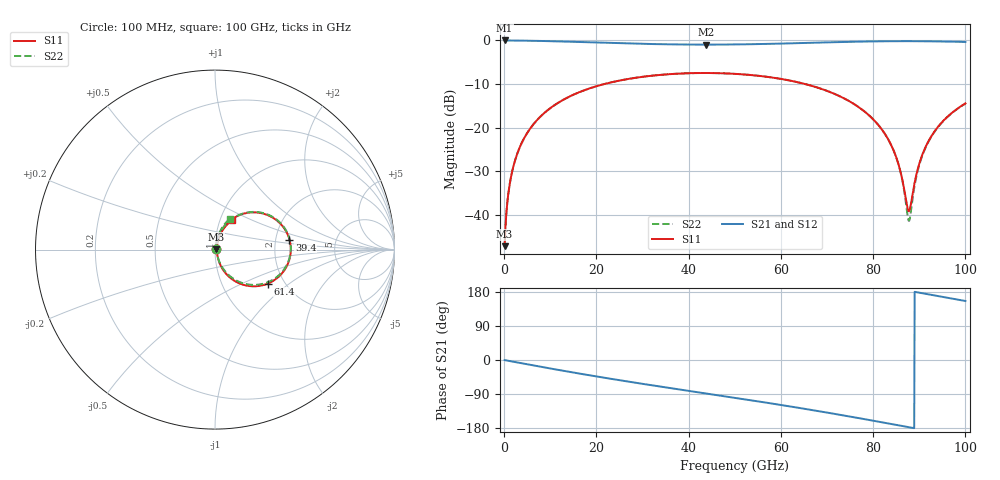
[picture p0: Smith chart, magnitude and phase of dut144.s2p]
! Touchstone file exported from HFSS 2026.1.0
!  File:  C:/ffzhzh/LocalFiles/Ansys_Project_Files/temp_train_RDL_144_1783499808_31944.aedt
!  Generated:  04:38:06 PM Jul  8, 2026
!  Design:  RDL
!  Project:  temp_train_RDL_144_1783499808_31944
! Variables:
!  h_bsmrdl = 2um
!  h_ox = 20um
!  h_rdl = 5um
!  h_sub = 80um
!  h_tmrdl = 2.29um
!  h_tsv = 80um
!  h_via = 3um
!  l_bsmrdl = 300um
!  l_sub = 1073.08um
!  l_tmrdl = 673.08um
!  m_sub = 200um
!  pitch = 48.19um
!  r_tsv = 6um
!  s_tmrdl = 10um
!  w_bsmrdl = 18um
!  w_sub = 500um
!  w_tmrdl = 29.88um
!  x_tsv_center1 = 688.02um
!  x_tsv_center2 = 1006.02um
!  x_tsv_center3 = 1708.98um
!  x_tsv_center4 = 2026.98um
!  x_tsv_center5 = 2729.94um
!  x_tsv_center6 = 3047.94um
# GHz S MA R 50.000000
! Terminal data exported
! Port[1] = TM_RDL1_1_T1
! Port[2] = TM_RDL1_1_T2
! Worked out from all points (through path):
!   1000 points, 100 MHz to 100 GHz, reference 50 ohm
!   highest |S21| = -0.03 dB at 100 MHz (marker M1); lowest = -1.0 dB at 43.7 GHz (marker M2)
!   group delay of S21, straight-line fit = 5.51 ps
!   lowest |S11| = -47.2 dB at 100 MHz (marker M3), VSWR 1.01, Z = 50.4 + j0.214 ohm
!   |S11| at or under -10 dB: start of sweep to 21.78 GHz; 65.19 GHz to end of sweep
!   |S22| runs from -47.2 to -7.5 dB; largest |S21 - S12| = 1.7e-14
!   S11 on the Smith chart (normalised r, x): 100 MHz: 1.01, +0.00; 39.4 GHz: 2.39, +0.32; 61.4 GHz: 1.65, -0.71; 100 GHz: 1.14, +0.39
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0.1  0.004387 28.9  0.9962 -0.2  0.9962 -0.2  0.004387 28.9
! Gamma 0 0 0 0
! Port Impedance 50 0 50 0
0.9  0.01742 70.3  0.9946 -2.1  0.9946 -2.1  0.01742 70.3
1.6  0.02913 75.1  0.9939 -3.7  0.9939 -3.7  0.02913 75.2
2.7  0.04785 76.6  0.9929 -6.1  0.9929 -6.1  0.04785 76.7
4.3  0.07503 75.3  0.9908 -9.7  0.9908 -9.7  0.07503 75.4
9.2  0.1548 66.3  0.9799 -20.6  0.9799 -20.6  0.1548 66.6
16.8  0.2609 50.6  0.9546 -36.8  0.9546 -36.8  0.2609 51.2
33.4  0.3999 18.6  0.9035 -69.3  0.9035 -69.3  0.3999 19.7
39.4  0.4187 7.7  0.8948 -80.3  0.8948 -80.3  0.4188 9.0
43.7  0.4224 -0.1  0.8929 -88.2  0.8929 -88.2  0.4225 1.4
50.1  0.4127 -11.6  0.8969 -99.9  0.8969 -99.9  0.4128 -10.0
61.4  0.3504 -32.6  0.9211 -121.4  0.9211 -121.4  0.3506 -30.6
66.7  0.3008 -42.8  0.937 -131.9  0.937 -131.9  0.3011 -40.7
77  0.1697 -62.8  0.9661 -153.6  0.9661 -153.6  0.17 -60.6
83.4  0.07118 -71.6  0.9763 -167.7  0.9763 -167.7  0.07139 -70.4
85.6  0.0364 -67.7  0.9776 -172.6  0.9776 -172.6  0.03629 -68.4
87.3  0.01304 -31.4  0.9777 -176.3  0.9777 -176.3  0.0114 -37.3
87.8  0.01109 6.0  0.9776 -177.5  0.9776 -177.5  0.008549 7.1
89.8  0.0355 67.3  0.9766 178.1  0.9766 178.1  0.03419 74.4
91.8  0.06684 71.4  0.9746 173.6  0.9746 173.6  0.06583 77.1
95.3  0.1211 68.0  0.9688 165.9  0.9688 165.9  0.1202 72.9
100  0.1892 59.8  0.9575 155.7  0.9575 155.7  0.1884 64.5
